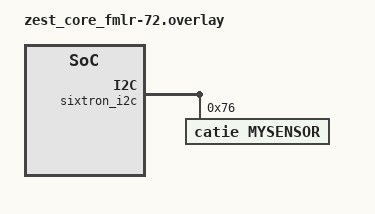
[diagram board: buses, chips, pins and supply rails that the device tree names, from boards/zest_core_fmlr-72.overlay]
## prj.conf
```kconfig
CONFIG_LOG=y

CONFIG_LORA=y
CONFIG_LORAWAN=y
CONFIG_LORAMAC_REGION_EU868=y
CONFIG_MAIN_STACK_SIZE=2048
CONFIG_SYSTEM_WORKQUEUE_STACK_SIZE=2048
CONFIG_STDOUT_CONSOLE=y
CONFIG_SENSOR=y
CONFIG_I2C=y

CONFIG_FLASH=y

CONFIG_NVS=y
CONFIG_LOG=y
CONFIG_LOG_MODE_IMMEDIATE=y
CONFIG_NVS_LOG_LEVEL_DBG=y
CONFIG_REBOOT=y
CONFIG_MPU_ALLOW_FLASH_WRITE=y
CONFIG_MAIN_STACK_SIZE=2048
```

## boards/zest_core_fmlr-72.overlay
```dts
/*
 * Copyright (c) 2025 CATIE
 *
 * SPDX-License-Identifier: Apache-2.0
 */

/* Configuration LoRa */
&lora {
    power-amplifier-output = "pa-boost";
};

/* Capteur I2C */
#include <zephyr/dt-bindings/gpio/sixtron-header.h>

&sixtron_i2c {
    status = "okay";

    mysensor: mysensor@76 {
        compatible = "catie,mysensor";
        reg = <0x76>;
        status = "okay";   /* <-- Obligatoire pour que DEVICE_DT_GET fonctionne */
    };
};

&flash0 {
    partitions {
        compatible = "fixed-partitions";
        #address-cells = <1>;
        #size-cells = <1>;

        storage_partition: partition@1f800 {
            label = "storage";
            reg = <0x0001f800 DT_SIZE_K(2)>; 
        };
    };
};
```

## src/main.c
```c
/*
 * Class A LoRaWAN sample application
 *
 * Copyright (c) 2020 Manivannan Sadhasivam <mani@kernel.org>
 *
 * SPDX-License-Identifier: Apache-2.0
 */

#include <zephyr/device.h>
#include <zephyr/lorawan/lorawan.h>
#include <zephyr/kernel.h>

#include <zephyr/drivers/sensor.h>

#include <zephyr/drivers/flash.h>
#include <zephyr/storage/flash_map.h>
#include <zephyr/fs/nvs.h>

#include <stdio.h>

/* Customize based on network configuration */
#define LORAWAN_DEV_EUI			{ 0xFE, 0xFF, 0xFF, 0xFF, 0xFD, 0xFF,\
					  0x00, 0x09 }
#define LORAWAN_JOIN_EUI		{ 0xFE, 0xFF, 0xFF, 0xFF, 0xFD, 0xFF,\
					  0xC0, 0xDE }
#define LORAWAN_APP_KEY			{ 0xBF, 0x7C, 0xE9, 0x6F, 0xEE, 0x3F,\
					  0xEB, 0xC2, 0xB6, 0x30, 0x8A, 0x97,\
					  0xDD, 0x07, 0xE7, 0xF0 }

#define DELAY K_MSEC(10000)

#define LOG_LEVEL CONFIG_LOG_DEFAULT_LEVEL
#include <zephyr/logging/log.h>
LOG_MODULE_REGISTER(lorawan_class_a);

char data[100];

static struct nvs_fs fs;

#define NVS_PARTITION storage_partition
#define NVS_PARTITION_DEVICE FIXED_PARTITION_DEVICE(NVS_PARTITION)
#define NVS_PARTITION_OFFSET FIXED_PARTITION_OFFSET(NVS_PARTITION)

#define NVS_DEVNONCE_ID 10

static int nvs_init(void)
{
	int rc;
	struct flash_pages_info info;

	fs.flash_device = NVS_PARTITION_DEVICE;
	if (!device_is_ready(fs.flash_device)) {
		LOG_ERR("Flash device %s is not ready", fs.flash_device->name);
		return -ENODEV;
	}

	fs.offset = NVS_PARTITION_OFFSET;

	rc = flash_get_page_info_by_offs(fs.flash_device, fs.offset, &info);
	if (rc) {
		LOG_ERR("Unable to get page info, rc=%d", rc);
		return rc;
	}

	fs.sector_size = info.size;
	fs.sector_count = 3U;

	rc = nvs_mount(&fs);
	if (rc) {
		LOG_ERR("Flash Init failed, rc=%d", rc);
		return rc;
	}

	return 0;
}

static int nvs_load_dev_nonce(uint16_t *dev_nonce)
{
	LOG_INF("test");
	int rc = nvs_read(&fs, NVS_DEVNONCE_ID, dev_nonce, sizeof(*dev_nonce));

	LOG_INF("%d", rc);
	LOG_INF("%d", dev_nonce);

	*dev_nonce = 7;
	rc = nvs_write(&fs, NVS_DEVNONCE_ID, dev_nonce, sizeof(*dev_nonce));
	if (rc < 0) {
		return rc;
	}

	return 0;
}

static int nvs_store_dev_nonce(uint16_t dev_nonce)
{
	return nvs_write(&fs, NVS_DEVNONCE_ID, &dev_nonce, sizeof(dev_nonce));
}

static void dl_callback(uint8_t port, uint8_t flags, int16_t rssi, int8_t snr, uint8_t len,
			const uint8_t *hex_data)
{
	LOG_INF("Port %d, Pending %d, RSSI %ddB, SNR %ddBm, Time %d", port,
		flags & LORAWAN_DATA_PENDING, rssi, snr, !!(flags & LORAWAN_TIME_UPDATED));
	if (hex_data) {
		LOG_HEXDUMP_INF(hex_data, len, "Payload: ");
	}
}

static void lorwan_datarate_changed(enum lorawan_datarate dr)
{
	uint8_t unused, max_size;

	lorawan_get_payload_sizes(&unused, &max_size);
	LOG_INF("New Datarate: DR_%d, Max Payload %d", dr, max_size);
}

int main(void)
{
	const struct device *lora_dev;
	const struct device *const dev = DEVICE_DT_GET(DT_NODELABEL(mysensor));
	struct lorawan_join_config join_cfg;
	struct sensor_value temp_val, press_val, hum_val;
	uint8_t dev_eui[] = LORAWAN_DEV_EUI;
	uint8_t join_eui[] = LORAWAN_JOIN_EUI;
	uint8_t app_key[] = LORAWAN_APP_KEY;
	int ret;
	int err;

	uint16_t dev_nonce;

	struct lorawan_downlink_cb downlink_cb = {
		.port = LW_RECV_PORT_ANY,
		.cb = dl_callback
	};

	lora_dev = DEVICE_DT_GET(DT_ALIAS(lora0));
	if (!device_is_ready(lora_dev)) {
		LOG_ERR("%s: device not ready.", lora_dev->name);
		return 0;
	}

	if (!device_is_ready(dev)) {
		printk("Device %s is not ready\n", dev->name);
		return 1;
	}

	ret = nvs_init();
	if (ret < 0) {
		return 0;
	}

	ret = nvs_load_dev_nonce(&dev_nonce);
	if (ret < 0) {
		return 0;
	}

	k_sleep(K_MSEC(1000));

#if defined(CONFIG_LORAMAC_REGION_EU868)
	/* If more than one region Kconfig is selected, app should set region
	 * before calling lorawan_start()
	 */
	ret = lorawan_set_region(LORAWAN_REGION_EU868);
	if (ret < 0) {
		LOG_ERR("lorawan_set_region failed: %d", ret);
		return 0;
	}
#endif

	ret = lorawan_start();
	if (ret < 0) {
		LOG_ERR("lorawan_start failed: %d", ret);
		return 0;
	}

	lorawan_register_downlink_callback(&downlink_cb);
	lorawan_register_dr_changed_callback(lorwan_datarate_changed);

	join_cfg.mode = LORAWAN_ACT_OTAA;
	join_cfg.dev_eui = dev_eui;
	join_cfg.otaa.join_eui = join_eui;
	join_cfg.otaa.app_key = app_key;
	join_cfg.otaa.nwk_key = app_key;
	join_cfg.otaa.dev_nonce = dev_nonce;

	LOG_INF("Joining network over OTAA");
	ret = lorawan_join(&join_cfg);
	if (ret < 0) {
		LOG_ERR("lorawan_join_network failed: %d", ret);
		return 0;
	}

	dev_nonce++;
	(void)nvs_store_dev_nonce(dev_nonce);

	LOG_INF("Sending data...");
	while (1) {
		err = sensor_sample_fetch(dev);
		if (err < 0) {
			printk("Could not fetch sample (%d)\n", err);
				return 0;
		}

		if (sensor_channel_get(dev, SENSOR_CHAN_AMBIENT_TEMP, &temp_val)) {
			printk("Could not get sample\n");
			return 0;
		}
				
		if (sensor_channel_get(dev, SENSOR_CHAN_PRESS, &press_val)) {
			printk("Could not get sample\n");
			return 0;
		}
			
		if (sensor_channel_get(dev, SENSOR_CHAN_HUMIDITY, &hum_val)) {
			printk("Could not get sample\n");
			return 0;
		}

		printk("temperature value: %d\n", temp_val.val1);
		printk("pressure value: %d\n", press_val.val1);
		printk("humidity value: %d\n", hum_val.val1); 

		k_sleep(K_MSEC(2000));

		// Construction du JSON compatible avec l'API Adafruit MQTT Groups
		// On utilise \" pour que les guillemets soient inclus dans le texte
		int len = snprintf(data, sizeof(data), 
			"{\"feeds\":{\"t\":%d,\"h\":%d,\"p\":%d}}", 
			temp_val.val1, hum_val.val1, press_val.val1);

		// Envoi via LoRaWAN
		// Note : Le port (2) doit être celui attendu par le forwarder de votre prof
		ret = lorawan_send(2, data, len, LORAWAN_MSG_CONFIRMED);

		//int len = snprintf(data, sizeof(data), "Temp : %d, Humidity : %d, Pressure : %d", temp_val.val1, hum_val.val1, press_val.val1);

		//ret = lorawan_send(2, data, len,
				   //LORAWAN_MSG_CONFIRMED);

		/*
		 * Note: The stack may return -EAGAIN if the provided data
		 * length exceeds the maximum possible one for the region and
		 * datarate. But since we are just sending the same data here,
		 * we'll just continue.
		 */
		if (ret == -EAGAIN) {
			LOG_ERR("lorawan_send failed: %d. Continuing...", ret);
			k_sleep(DELAY);
			continue;
		}

		if (ret < 0) {
			LOG_ERR("lorawan_send failed: %d", ret);
			return 0;
		}

		LOG_INF("Data sent!");
		k_sleep(DELAY);
	}
}
```
